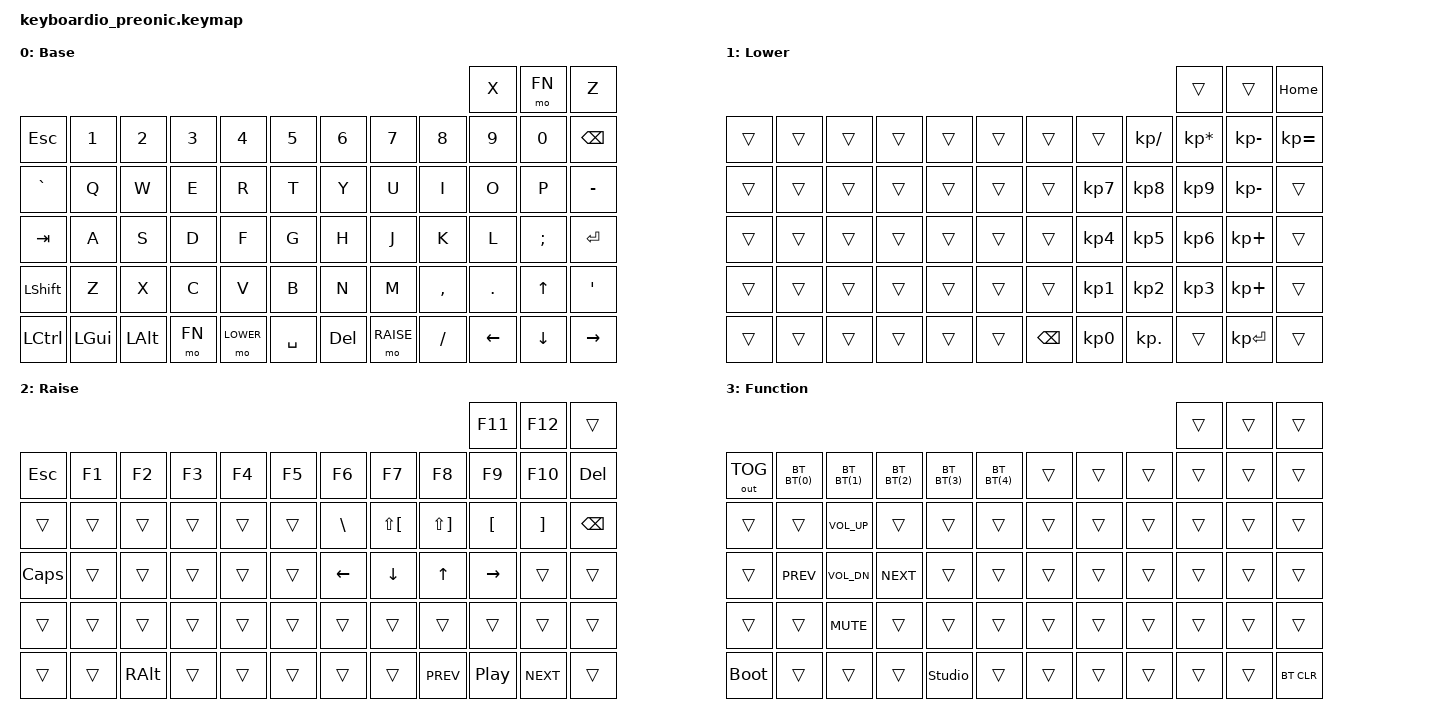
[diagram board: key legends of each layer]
/*
 * Copyright (c) 2022 Pete Johanson
 *
 * SPDX-License-Identifier: MIT
 */

#include <behaviors.dtsi>
#include <dt-bindings/zmk/keys.h>
#include <dt-bindings/zmk/bt.h>
#include <dt-bindings/zmk/outputs.h>

#define LOWER 1
#define RAISE 2
#define FN 3

// Using layer taps on thumbs, having quick tap as well helps w/ repeating space/backspace
&lt { quick_tap_ms = <200>; };

// Convenience macro to make the Bluetooth commands shorter
#define BT(n) BT_SEL n

// Hyper key: all the modifiers
#define HYPER LC(LS(LA(LGUI)))

/ {
    chosen {
        // Valid choices: [ &mit_layout, &ortho_layout ]
        zmk,physical-layout = &ortho_layout;
    };

    keymap {
        compatible = "zmk,keymap";

        base_layer {
            label = "Base";
            bindings = <
                                                                                                             &kp X       &mo FN      &kp Z

 &kp ESC     &kp N1      &kp N2      &kp N3      &kp N4      &kp N5      &kp N6      &kp N7      &kp N8      &kp N9      &kp N0      &kp BKSP
 &kp GRAVE   &kp Q       &kp W       &kp E       &kp R       &kp T       &kp Y       &kp U       &kp I       &kp O       &kp P       &kp MINUS
 &kp TAB     &kp A       &kp S       &kp D       &kp F       &kp G       &kp H       &kp J       &kp K       &kp L       &kp SEMI    &kp ENTER
 &kp LSHFT   &kp Z       &kp X       &kp C       &kp V       &kp B       &kp N       &kp M       &kp COMMA   &kp PERIOD  &kp UP      &kp SQT
 &kp LCTRL   &kp LGUI    &kp LALT    &mo FN      &mo LOWER   &kp SPACE   &kp DEL     &mo RAISE   &kp SLASH   &kp LEFT    &kp DOWN    &kp RIGHT

            >;
        };

        lower_layer {
            label = "Lower";
            bindings = <
                                                                                                               &trans          &trans       &kp HOME

 &trans      &trans      &trans      &trans      &trans      &trans      &trans      &trans      &kp KP_SLASH  &kp KP_ASTERISK &kp KP_MINUS &kp KP_EQUAL
 &trans      &trans      &trans      &trans      &trans      &trans      &trans      &kp KP_N7   &kp KP_N8     &kp KP_N9       &kp KP_MINUS &trans
 &trans      &trans      &trans      &trans      &trans      &trans      &trans      &kp KP_N4   &kp KP_N5     &kp KP_N6       &kp KP_PLUS  &trans
 &trans      &trans      &trans      &trans      &trans      &trans      &trans      &kp KP_N1   &kp KP_N2     &kp KP_N3       &kp KP_PLUS  &trans
 &trans      &trans      &trans      &trans      &trans      &trans      &kp BKSP    &kp KP_N0   &kp KP_DOT    &trans          &kp KP_ENTER &trans

            >;
        };

        raise_layer {
            label = "Raise";
            bindings = <
                                                                                                               &kp F11    &kp F12    &trans

 &kp ESC     &kp F1      &kp F2      &kp F3      &kp F4      &kp F5      &kp F6      &kp F7       &kp F8       &kp F9     &kp F10    &kp DEL
 &trans      &trans      &trans      &trans      &trans      &trans      &kp BSLH    &kp LS(LBKT) &kp LS(RBKT) &kp LBKT   &kp RBKT   &kp BKSP
 &kp CAPS    &trans      &trans      &trans      &trans      &trans      &kp LEFT    &kp DOWN     &kp UP       &kp RIGHT  &trans     &trans
 &trans      &trans      &trans      &trans      &trans      &trans      &trans      &trans       &trans       &trans     &trans     &trans
 &trans      &trans      &kp RALT    &trans      &trans      &trans      &trans      &trans       &kp C_PREV   &kp C_PP   &kp C_NEXT &trans

            >;
        };

        func_layer {
            label = "Function";
            bindings = <
                                                                                                             &trans      &trans      &trans

 &out OUT_TOG &bt BT(0)   &bt BT(1)   &bt BT(2)   &bt BT(3)   &bt BT(4)   &trans      &trans      &trans      &trans      &trans      &trans
 &trans      &trans      &kp C_VOL_UP &trans      &trans      &trans      &trans      &trans      &trans      &trans      &trans      &trans
 &trans      &kp C_PREV  &kp C_VOL_DN &kp C_NEXT  &trans      &trans      &trans      &trans      &trans      &trans      &trans      &trans
 &trans      &trans      &kp C_MUTE   &trans      &trans      &trans      &trans      &trans      &trans      &trans      &trans      &trans
 &bootloader &trans      &trans       &trans      &studio_unlock &trans   &trans      &trans      &trans      &trans      &trans      &bt BT_CLR

            >;
        };
    };
};

